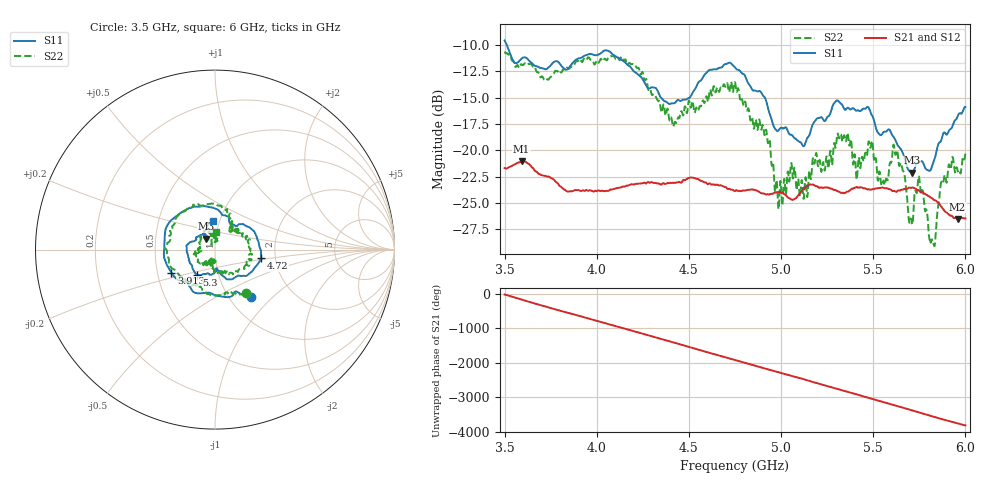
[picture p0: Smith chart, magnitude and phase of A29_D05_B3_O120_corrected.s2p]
! Created with skrf 1.9.0 (http://scikit-rf.org).
# Hz S RI R 50.0
!freq ReS11 ImS11 ReS21 ImS21 ReS12 ImS12 ReS22 ImS22
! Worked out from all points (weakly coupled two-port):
!   1601 points, 3.5 GHz to 6 GHz, reference 50 ohm
!   highest |S21| = -21.04 dB at 3.592 GHz (marker M1); lowest = -26.5 dB at 5.958 GHz (marker M2)
!   lowest |S11| = -22.1 dB at 5.711 GHz (marker M3), VSWR 1.17, Z = 44.9 + j5.42 ohm
!   |S11| at or under -10 dB: 3.512 GHz to end of sweep
!   |S22| runs from -29.1 to -10.6 dB; largest |S21 - S12| = 0.00096
!   S11 on the Smith chart (normalised r, x): 3.5 GHz: 1.26, -0.75; 3.913 GHz: 0.59, -0.16; 4.72 GHz: 1.68, -0.17; 5.3 GHz: 0.79, -0.23; 6 GHz: 0.93, +0.31
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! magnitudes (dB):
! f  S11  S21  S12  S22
! 3.5 GHz  -9.6  -21.7  -21.7  -10.6
! 3.592 GHz  -11.3  -21.0  -21.0  -11.8
! 3.913 GHz  -11.2  -23.9  -23.8  -11.4
! 3.917 GHz  -11.2  -23.9  -23.8  -11.6
! 4.144 GHz  -11.5  -23.4  -23.4  -11.5
! 4.334 GHz  -14.5  -23.2  -23.1  -15.3
! 4.422 GHz  -15.5  -23.1  -23.1  -17.4
! 4.72 GHz  -11.7  -23.7  -23.7  -14.4
! 4.75 GHz  -12.1  -23.9  -23.8  -13.6
! 4.928 GHz  -16.0  -24.2  -24.2  -19.3
! 4.978 GHz  -18.2  -24.0  -24.0  -23.2
! 5.167 GHz  -17.8  -23.3  -23.2  -21.8
! 5.3 GHz  -15.3  -23.8  -23.8  -19.3
! 5.486 GHz  -16.4  -23.7  -23.7  -19.7
! 5.584 GHz  -18.0  -23.7  -23.7  -22.1
! 5.62 GHz  -19.0  -23.9  -23.9  -20.4
! 5.711 GHz  -22.1  -23.5  -23.5  -27.0
! 5.755 GHz  -21.1  -23.9  -23.9  -23.5
! 5.823 GHz  -21.3  -24.6  -24.6  -28.8
! 5.877 GHz  -18.6  -25.5  -25.5  -23.1
! 5.958 GHz  -16.8  -26.5  -26.5  -22.0
! 6 GHz  -15.9  -26.5  -26.4  -20.3
